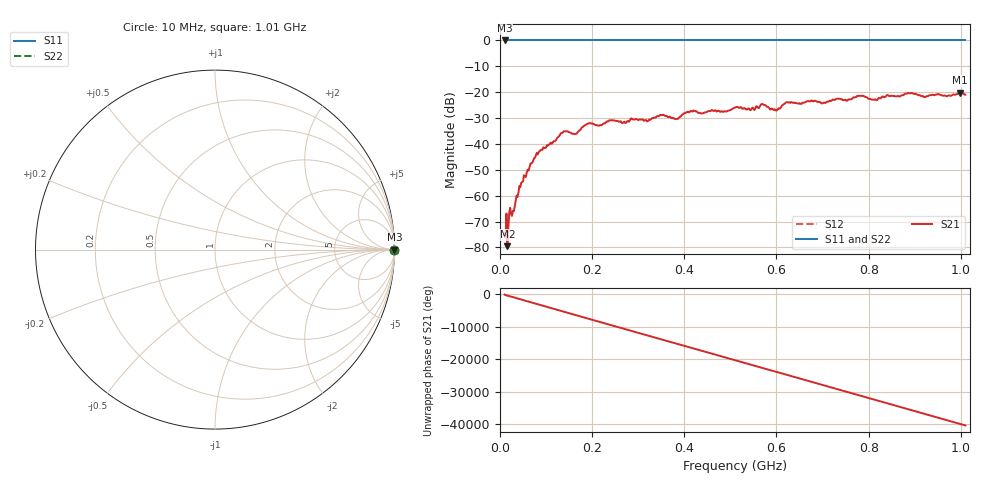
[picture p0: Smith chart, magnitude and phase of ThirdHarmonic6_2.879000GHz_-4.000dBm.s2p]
! 8/17/2025 7:53:27 AM
! C:\ANRITSUVNA\TEMP\TEMP.S2P
! CHANNEL.1
! TR.MEASUREMENT
! RAW.DATA
! RF.CORRECTION.OFF
! AVERAGING.OFF
! IF.BANDWIDTH: 5KHZ
! SWEEPTYPE:  FREQ.SWEEP(Linear)
! Reference Plane Port Info
! PORT:  PORT1  PORT2
! DISTANCE:  0  m  0  m
! TIME:  0  s  0  s
! PHASE.OFFSET:  0  deg.  0  deg.
! LOSS:  0  dB  0  dB
! REF.LOSS:  0  dB  0  dB
! REF.FREQ:  0  Hz  0  Hz
! Power Info
! POWER:  -20  dBm  -20  dBm
! EFF.POWER:  -20  dBm  -20  dBm
! SOURCE.ATTEN:  0  dB  0  dB
! TEST.ATTEN:  0  dB  0  dB
# GHZ S RI R 50.0
! FREQ.GHZ  S11RE  S11IM  S21RE  S21IM  S12RE  S12IM  S22RE  S22IM
!; PortSelection: Port_12
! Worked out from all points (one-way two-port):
!   501 points, 10 MHz to 1.01 GHz, reference 50 ohm
!   highest |S21| = -20.13 dB at 998 MHz (marker M1); lowest = -79.5 dB at 16 MHz (marker M2)
!   lowest |S11| = 0.0 dB at 10 MHz (marker M3)
!   |S11| at or under -10 dB: nowhere
!   |S22| runs from 0.0 to 0.0 dB; largest |S21 - S12| = 1.1
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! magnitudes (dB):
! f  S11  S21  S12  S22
! 10 MHz  0.0  -74.7  0.0  0.0
! 12 MHz  0.0  -76.1  0.0  0.0
! 16 MHz  0.0  -79.5  0.0  0.0
! 24 MHz  0.0  -67.0  0.0  0.0
! 28 MHz  0.0  -65.9  0.0  0.0
! 46 MHz  0.0  -55.0  0.0  0.0
! 82 MHz  0.0  -44.0  0.0  0.0
! 136 MHz  0.0  -35.7  0.0  0.0
! 162 MHz  0.0  -36.2  0.0  0.0
! 178 MHz  0.0  -33.6  0.0  0.0
! 344 MHz  0.0  -29.3  0.0  0.0
! 382 MHz  0.0  -30.3  0.0  0.0
! 410 MHz  0.0  -27.8  0.0  0.0
! 510 MHz  0.0  -25.9  0.0  0.0
! 548 MHz  0.0  -25.9  0.0  0.0
! 570 MHz  0.0  -24.6  0.0  0.0
! 598 MHz  0.0  -27.0  0.0  0.0
! 624 MHz  0.0  -23.9  0.0  0.0
! 678 MHz  0.0  -23.3  0.0  0.0
! 844 MHz  0.0  -21.4  0.0  0.0
! 998 MHz  0.0  -20.1  0.0  0.0
! 1.01 GHz  0.0  -21.0  0.0  0.0
